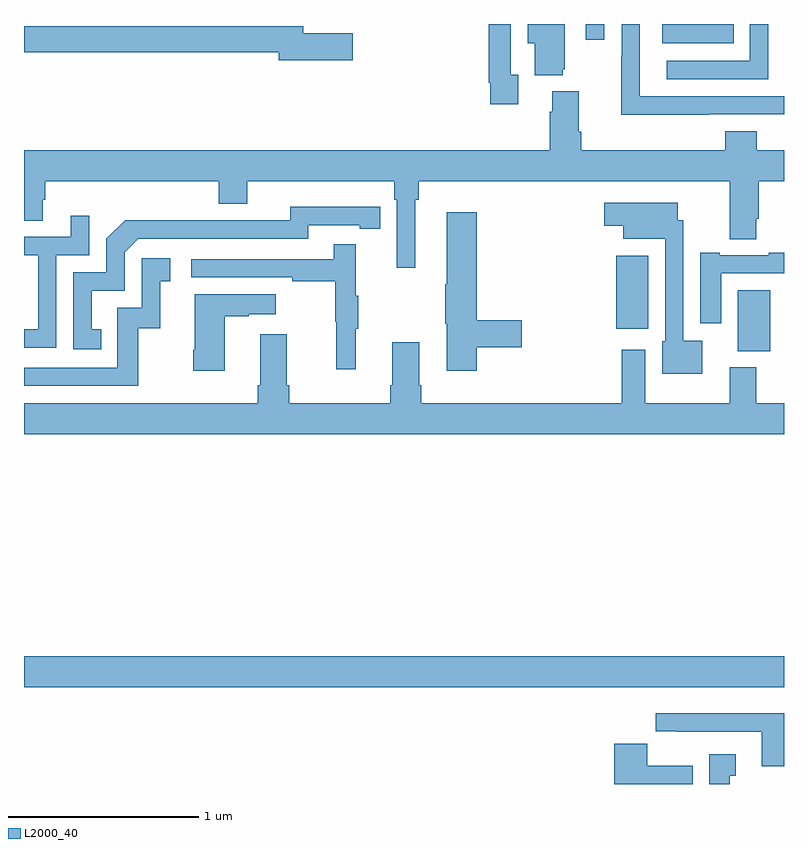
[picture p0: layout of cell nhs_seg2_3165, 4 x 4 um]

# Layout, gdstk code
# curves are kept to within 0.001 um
import gdstk
lib = gdstk.Library(unit=1e-6, precision=1e-09)
def R(c, l, rs):  # rectangles x0, y0, x1, y1
    for r in rs: c.add(gdstk.rectangle(r[:2], r[2:], *l))
def P(c, l, *ps):  # polygons
    for p in ps: c.add(gdstk.Polygon(p, *l))
L2000_40 = (2000, 40)

nhs_seg2_3165 = lib.new_cell('nhs_seg2_3165')
R(nhs_seg2_3165, L2000_40, [(277,642.308,281,642.472), (280.757,644.078,280.927,644.398), (280.118,644.195,280.285,644.581), (280.358,645.698,280.736,645.8), (279.957,645.717,280.053,645.8)])
P(nhs_seg2_3165, L2000_40, [(280.917,645.8),(280.821,645.8),(280.821,645.606),(280.383,645.606),(280.383,645.51),(280.917,645.51)],
  [(279.836,645.561),(279.847,645.561),(279.847,645.8),(279.65,645.8),(279.65,645.698),(279.689,645.698),(279.689,645.53),(279.836,645.53)],
  [(280.607,645.324),(281,645.324),(281,645.42),(280.242,645.42),(280.242,645.8),(280.146,645.8),(280.146,645.629),(280.144,645.629),(280.144,645.323),(280.607,645.323)],
  [(279.601,645.534),(279.561,645.534),(279.561,645.8),(279.445,645.8),(279.445,645.49),(279.453,645.49),(279.453,645.378),(279.601,645.378)],
  [(278.731,645.752),(278.47,645.752),(278.47,645.788),(277,645.788),(277,645.652),(278.342,645.652),(278.342,645.61),(278.731,645.61)],
  [(280.715,644.668),(280.855,644.668),(280.855,644.776),(280.868,644.776),(280.868,644.972),(281,644.972),(281,645.136),(280.856,645.136),(280.856,645.235),(280.691,645.235),(280.691,645.136),(279.932,645.136),(279.932,645.232),(279.919,645.232),(279.919,645.445),(279.779,645.445),(279.779,645.338),(279.767,645.338),(279.767,645.136),(277,645.136),(277,644.764),(277.099,644.764),(277.099,644.874),(277.112,644.874),(277.112,644.972),(278.024,644.972),(278.024,644.855),(278.176,644.855),(278.176,644.972),(278.948,644.972),(278.948,644.876),(278.961,644.876),(278.961,644.517),(279.058,644.517),(279.058,644.876),(279.077,644.876),(279.077,644.972),(280.715,644.972)],
  [(280.57,644.134),(280.47,644.134),(280.47,644.767),(280.441,644.767),(280.441,644.86),(280.053,644.86),(280.053,644.738),(280.154,644.738),(280.154,644.669),(280.374,644.669),(280.374,644.13),(280.358,644.13),(280.358,643.958),(280.57,643.958)],
  [(277.406,644.193),(277.357,644.193),(277.357,644.397),(277.53,644.397),(277.53,644.598),(277.602,644.67),(278.496,644.67),(278.496,644.742),(278.768,644.742),(278.768,644.722),(278.876,644.722),(278.876,644.838),(278.4,644.839),(278.4,644.766),(277.94,644.766),(277.94,644.768),(277.532,644.768),(277.434,644.67),(277.434,644.493),(277.26,644.493),(277.26,644.088),(277.406,644.088)],
  [(279.383,644.098),(279.619,644.098),(279.619,644.24),(279.383,644.24),(279.383,644.809),(279.224,644.809),(279.224,644.429),(279.217,644.429),(279.217,644.223),(279.224,644.223),(279.224,643.974),(279.383,643.974)],
  [(277.17,644.583),(277.344,644.583),(277.344,644.791),(277.247,644.791),(277.247,644.679),(277,644.679),(277,644.583),(277.074,644.583),(277.074,644.194),(277,644.194),(277,644.097),(277.17,644.097)],
  [(278.747,644.195),(278.758,644.195),(278.758,644.369),(278.747,644.369),(278.747,644.641),(278.629,644.641),(278.629,644.562),(277.881,644.562),(277.881,644.466),(278.413,644.466),(278.413,644.446),(278.637,644.446),(278.637,644.232),(278.644,644.232),(278.644,643.983),(278.747,643.983)],
  [(280.669,644.487),(281,644.487),(281,644.596),(280.919,644.596),(280.919,644.583),(280.663,644.583),(280.663,644.596),(280.559,644.596),(280.559,644.226),(280.669,644.226)],
  [(277.6,644.199),(277.718,644.199),(277.718,644.445),(277.771,644.445),(277.771,644.566),(277.62,644.566),(277.62,644.307),(277.491,644.307),(277.491,643.992),(277,643.992),(277,643.896),(277.6,643.896)],
  [(278.056,644.263),(278.183,644.263),(278.183,644.273),(278.326,644.273),(278.326,644.377),(277.898,644.377),(277.898,644.086),(277.891,644.086),(277.891,643.974),(278.056,643.974)],
  [(281,643.804),(280.855,643.804),(280.855,643.993),(280.715,643.993),(280.715,643.804),(280.27,643.804),(280.27,644.086),(280.145,644.086),(280.145,643.804),(279.092,643.804),(279.092,643.9),(279.079,643.9),(279.079,644.125),(278.939,644.125),(278.939,643.9),(278.927,643.9),(278.927,643.804),(278.396,643.804),(278.396,643.9),(278.383,643.9),(278.383,644.167),(278.243,644.167),(278.243,643.9),(278.231,643.9),(278.231,643.804),(277,643.804),(277,643.64),(281,643.64)],
  [(281,642.172),(280.326,642.172),(280.326,642.077),(280.435,642.077),(280.435,642.075),(280.883,642.075),(280.883,641.894),(281,641.894)],
  [(280.519,641.896),(280.279,641.896),(280.279,642.012),(280.106,642.012),(280.106,641.8),(280.519,641.8)],
  [(280.714,641.843),(280.747,641.843),(280.747,641.956),(280.607,641.956),(280.607,641.8),(280.714,641.8)])

lib.write_gds('nhs_seg2_3165.gds')
